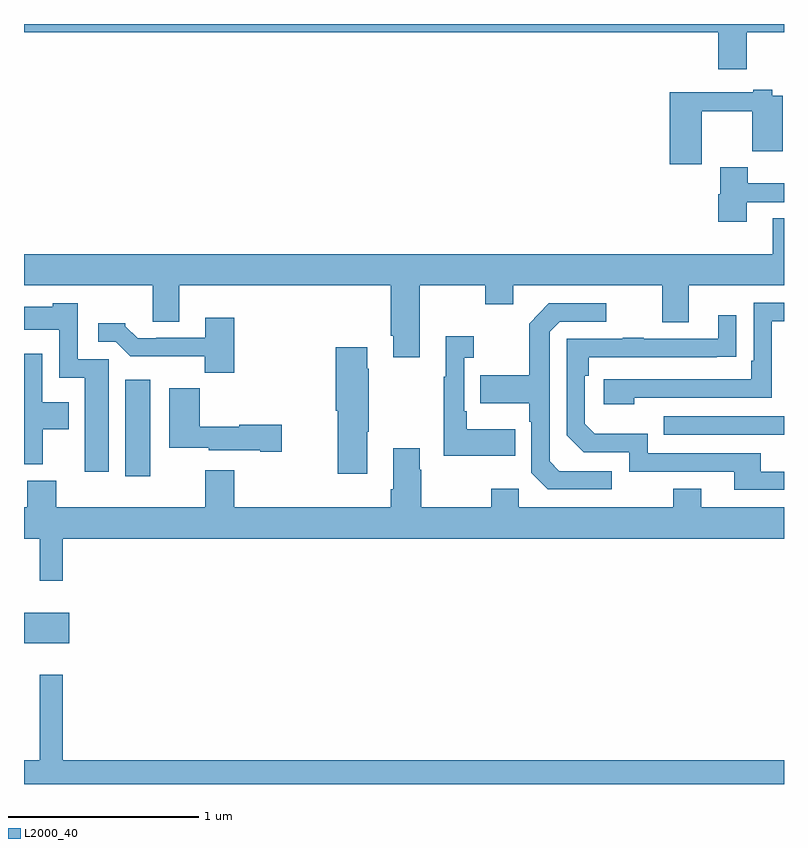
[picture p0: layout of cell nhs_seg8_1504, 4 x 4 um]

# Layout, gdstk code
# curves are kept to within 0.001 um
import gdstk
lib = gdstk.Library(unit=1e-6, precision=1e-09)
def R(c, l, rs):  # rectangles x0, y0, x1, y1
    for r in rs: c.add(gdstk.rectangle(r[:2], r[2:], *l))
def P(c, l, *ps):  # polygons
    for p in ps: c.add(gdstk.Polygon(p, *l))
L2000_40 = (2000, 40)

nhs_seg8_1504 = lib.new_cell('nhs_seg8_1504')
R(nhs_seg8_1504, L2000_40, [(207,1090.64,207.238,1090.801), (207.533,1091.52,207.664,1092.028), (210.367,1091.739,211,1091.835)])
P(nhs_seg8_1504, L2000_40, [(210.805,1093.856),(211,1093.856),(211,1093.9),(207,1093.9),(207,1093.856),(210.653,1093.856),(210.653,1093.662),(210.805,1093.662)],
  [(210.568,1093.441),(210.832,1093.441),(210.832,1093.229),(210.994,1093.229),(210.994,1093.522),(210.939,1093.522),(210.939,1093.555),(210.839,1093.555),(210.839,1093.542),(210.398,1093.542),(210.398,1093.161),(210.568,1093.161)],
  [(210.805,1092.963),(211,1092.963),(211,1093.063),(210.808,1093.063),(210.808,1093.147),(210.665,1093.147),(210.665,1093.005),(210.653,1093.005),(210.653,1092.858),(210.805,1092.858)],
  [(209.083,1092.524),(209.428,1092.524),(209.428,1092.425),(209.575,1092.425),(209.575,1092.524),(210.359,1092.524),(210.359,1092.33),(210.499,1092.33),(210.499,1092.524),(211,1092.524),(211,1092.878),(210.941,1092.878),(210.941,1092.688),(207,1092.688),(207,1092.524),(207.677,1092.524),(207.677,1092.334),(207.817,1092.334),(207.817,1092.524),(208.931,1092.524),(208.931,1092.259),(208.943,1092.259),(208.943,1092.147),(209.083,1092.147)],
  [(210.212,1091.934),(210.936,1091.934),(210.936,1092.336),(211,1092.336),(211,1092.432),(210.84,1092.432),(210.84,1092.127),(210.827,1092.127),(210.827,1092.03),(210.051,1092.03),(210.051,1091.9),(210.212,1091.9)],
  [(207.445,1092.135),(207.282,1092.135),(207.282,1092.43),(207.15,1092.43),(207.15,1092.412),(207,1092.412),(207,1092.29),(207.186,1092.29),(207.186,1092.038),(207.32,1092.038),(207.32,1091.544),(207.445,1091.544)],
  [(210.094,1091.547),(209.817,1091.547),(209.766,1091.598),(209.766,1092.279),(209.82,1092.333),(210.064,1092.333),(210.064,1092.429),(209.763,1092.429),(209.658,1092.323),(209.658,1092.051),(209.401,1092.051),(209.401,1091.903),(209.658,1091.903),(209.658,1091.807),(209.67,1091.807),(209.67,1091.538),(209.757,1091.451),(210.094,1091.451)],
  [(211,1091.544),(210.877,1091.544),(210.877,1091.64),(210.282,1091.64),(210.282,1091.743),(210.005,1091.743),(209.952,1091.796),(209.952,1092.05),(209.972,1092.05),(209.972,1092.147),(210.749,1092.148),(210.749,1092.367),(210.653,1092.367),(210.653,1092.243),(210.263,1092.243),(210.263,1092.248),(210.151,1092.248),(210.151,1092.243),(209.856,1092.243),(209.856,1091.736),(209.946,1091.646),(210.186,1091.646),(210.186,1091.544),(210.737,1091.544),(210.737,1091.448),(211,1091.448)],
  [(208.106,1092.355),(207.953,1092.355),(207.953,1092.249),(207.697,1092.249),(207.697,1092.246),(207.598,1092.246),(207.534,1092.31),(207.534,1092.325),(207.39,1092.325),(207.39,1092.228),(207.483,1092.228),(207.559,1092.152),(207.951,1092.152),(207.951,1092.065),(208.106,1092.065)],
  [(209.585,1091.767),(209.329,1091.767),(209.329,1091.863),(209.316,1091.863),(209.316,1092.143),(209.368,1092.143),(209.368,1092.256),(209.219,1092.256),(209.219,1092.043),(209.208,1092.043),(209.208,1091.627),(209.585,1091.627)],
  [(208.807,1091.755),(208.815,1091.755),(208.815,1092.086),(208.807,1092.086),(208.807,1092.199),(208.64,1092.199),(208.64,1091.865),(208.652,1091.865),(208.652,1091.532),(208.807,1091.532)],
  [(207.099,1091.768),(207.235,1091.768),(207.235,1091.908),(207.096,1091.908),(207.096,1092.165),(207,1092.165),(207,1091.582),(207.099,1091.582)],
  [(208.357,1091.792),(208.134,1091.792),(208.134,1091.779),(207.926,1091.779),(207.926,1091.983),(207.764,1091.983),(207.764,1091.669),(207.972,1091.669),(207.972,1091.657),(208.244,1091.657),(208.244,1091.65),(208.357,1091.65)],
  [(207.205,1091.192),(211,1091.192),(211,1091.356),(210.565,1091.356),(210.565,1091.455),(210.418,1091.455),(210.418,1091.356),(209.604,1091.356),(209.604,1091.455),(209.458,1091.455),(209.458,1091.356),(209.091,1091.356),(209.091,1091.555),(209.083,1091.555),(209.083,1091.668),(208.943,1091.668),(208.943,1091.452),(208.931,1091.452),(208.931,1091.356),(208.106,1091.356),(208.106,1091.551),(207.953,1091.551),(207.953,1091.356),(207.17,1091.356),(207.17,1091.497),(207.017,1091.497),(207.017,1091.356),(207,1091.356),(207,1091.192),(207.083,1091.192),(207.083,1090.971),(207.205,1090.971)],
  [(211,1090.024),(207.205,1090.024),(207.205,1090.474),(207.083,1090.474),(207.083,1090.024),(207,1090.024),(207,1089.9),(211,1089.9)])

lib.write_gds('nhs_seg8_1504.gds')
